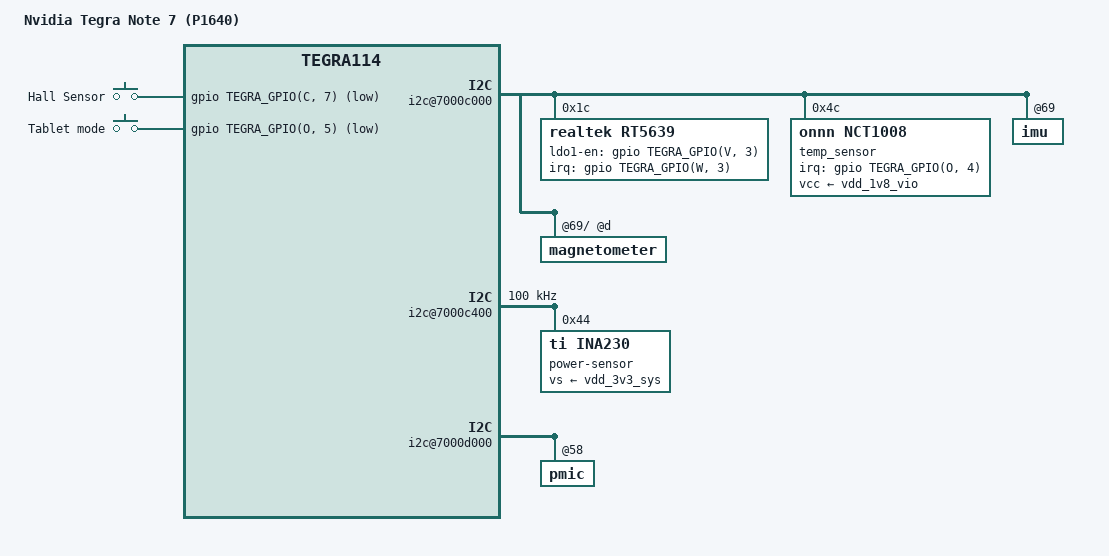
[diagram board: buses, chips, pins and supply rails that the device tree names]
// SPDX-License-Identifier: GPL-2.0
/dts-v1/;

#include "tegra114-nvidia-tegratab-common.dtsi"

/ {
	model = "Nvidia Tegra Note 7 (P1640)";

	serial@70006200 {
		bluetooth {
			clocks = <&palmas_clk32k>;
			clock-names = "ext_clock";

			enable-gpios = <&gpio TEGRA_GPIO(R, 1) GPIO_ACTIVE_HIGH>;
		};
	};

	i2c@7000c000 {
		rt5639: audio-codec@1c {
			compatible = "realtek,rt5639";
			reg = <0x1c>;

			interrupt-parent = <&gpio>;
			interrupts = <TEGRA_GPIO(W, 3) IRQ_TYPE_LEVEL_HIGH>;

			realtek,ldo1-en-gpios =
				<&gpio TEGRA_GPIO(V, 3) GPIO_ACTIVE_HIGH>;

// codec 1/2/3 en
//#define TEGRA_GPIO_CODEC1_EN	TEGRA_GPIO_PP3
//#define TEGRA_GPIO_CODEC2_EN	TEGRA_GPIO_PP1
//#define TEGRA_GPIO_CODEC3_EN	TEGRA_GPIO_PV0

			clocks = <&tegra_pmc TEGRA_PMC_CLK_OUT_1>;
			clock-names = "mclk";
		};

		temp_sensor: temperature-sensor@4c {
			compatible = "onnn,nct1008";
			reg = <0x4c>;

			interrupt-parent = <&gpio>;
			interrupts = <TEGRA_GPIO(O, 4) IRQ_TYPE_EDGE_FALLING>;

			vcc-supply = <&vdd_1v8_vio>;
			#thermal-sensor-cells = <1>;
		};

		imu@69 {
			mount-matrix =  "1",  "0",  "0",
					"0",  "1",  "0",
					"0",  "0",  "1";

			i2c-gate {
				magnetometer@d {
					mount-matrix =  "0",  "1",  "0",
							"1",  "0",  "0",
							"0",  "0", "-1";
				};
			};
		};

	};

	i2c@7000c400 {
		status = "okay";
		clock-frequency = <100000>;

		power-sensor@44 {
			compatible = "ti,ina230";
			reg = <0x44>;

			shunt-resistor = <5000>;

			vs-supply = <&vdd_3v3_sys>;
			#io-channel-cells = <1>;
		};
	};

	extcon-keys {
		compatible = "gpio-keys";

		switch-hall-sensor {
			label = "Hall Sensor";
			gpios = <&gpio TEGRA_GPIO(C, 7) GPIO_ACTIVE_LOW>;
			linux,code = <SW_LID>;
			wakeup-source;
		};

		switch-tablet-mode {
			label = "Tablet mode";
			gpios = <&gpio TEGRA_GPIO(O, 5) GPIO_ACTIVE_LOW>; // A00 uses PQ1, A01 uses PO5
			linux,code = <SW_TABLET_MODE>;
			wakeup-source;
		};
	};

	gpio-keys {
		key-volume-down {
			label = "Volume Down";
			gpios = <&gpio TEGRA_GPIO(Q, 2) GPIO_ACTIVE_LOW>;
			linux,code = <KEY_VOLUMEDOWN>;
			debounce-interval = <30>;
		};
	};

	i2c@7000d000 {
		pmic@58 {
			palmas_clk32k: palmas_clk32kg@0 {
				compatible = "ti,palmas-clk32kg";
				#clock-cells = <0>;
			};
		};
	};

	pwrseq-wifi {
		compatible = "mmc-pwrseq-simple";

		clocks = <&tegra_pmc TEGRA_PMC_CLK_OUT_3>;
		clock-names = "ext_clock";

		assigned-clocks = <&tegra_car TEGRA114_CLK_EXTERN3>,
				  <&tegra_pmc TEGRA_PMC_CLK_OUT_3>;
		assigned-clock-rates = <32768>;

		assigned-clock-parents = <&tegra_car TEGRA114_CLK_CLK_32K>,
					 <&tegra_car TEGRA114_CLK_EXTERN3>;
	};

	sound {
		compatible = "nvidia,tegra-audio-rt5639-tegratab",
			     "nvidia,tegra-audio-rt5640";
		nvidia,model = "Nvidia Tegra Note 7 RT5639";

		nvidia,audio-codec = <&rt5639>;
	};

	thermal-zones {
		/*
		 * NCT72 has two sensors:
		 *
		 *	0: internal that monitors ambient/skin temperature
		 *	1: external that is connected to the CPU's diode
		 *
		 * Ideally we should use userspace thermal governor,
		 * but it's a much more complex solution.  The "skin"
		 * zone exists as a simpler solution which prevents
		 * tablet from getting too hot from a user's tactile
		 * perspective. The CPU zone is intended to protect
		 * silicon from damage.
		 */

		nct72-skin-thermal {
			polling-delay-passive = <1100>; /* milliseconds */
			polling-delay = <15000>; /* milliseconds */

			thermal-sensors = <&temp_sensor 0>;

			trips {
				skip_alert_trip: skin-alert {
					/* throttle at 57C until temperature drops to 56.5C */
					temperature = <57000>;
					hysteresis = <500>;
					type = "passive";
				};

				skin-crit {
					/* shut down at 65C */
					temperature = <65000>;
					hysteresis = <2000>;
					type = "critical";
				};
			};

			cooling-maps {
				map-skip {
					trip = <&skip_alert_trip>;
					cooling-device = <&cpu0 THERMAL_NO_LIMIT THERMAL_NO_LIMIT>,
							 <&cpu1 THERMAL_NO_LIMIT THERMAL_NO_LIMIT>,
							 <&cpu2 THERMAL_NO_LIMIT THERMAL_NO_LIMIT>,
							 <&cpu3 THERMAL_NO_LIMIT THERMAL_NO_LIMIT>;
				};
			};
		};

		nct72-cpu-thermal {
			polling-delay-passive = <1100>; /* milliseconds */
			polling-delay = <15000>; /* milliseconds */

			thermal-sensors = <&temp_sensor 1>;

			trips {
				cpu_alert_trip: cpu-alert {
					/* throttle at 75C until temperature drops to 74.5C */
					temperature = <75000>;
					hysteresis = <500>;
					type = "passive";
				};

				cpu-crit {
					/* shut down at 105C */
					temperature = <105000>;
					hysteresis = <2000>;
					type = "critical";
				};
			};

			cooling-maps {
				map-cpu {
					trip = <&cpu_alert_trip>;
					cooling-device = <&cpu0 THERMAL_NO_LIMIT THERMAL_NO_LIMIT>,
							 <&cpu1 THERMAL_NO_LIMIT THERMAL_NO_LIMIT>,
							 <&cpu2 THERMAL_NO_LIMIT THERMAL_NO_LIMIT>,
							 <&cpu3 THERMAL_NO_LIMIT THERMAL_NO_LIMIT>;
				};
			};
		};
	};
};
